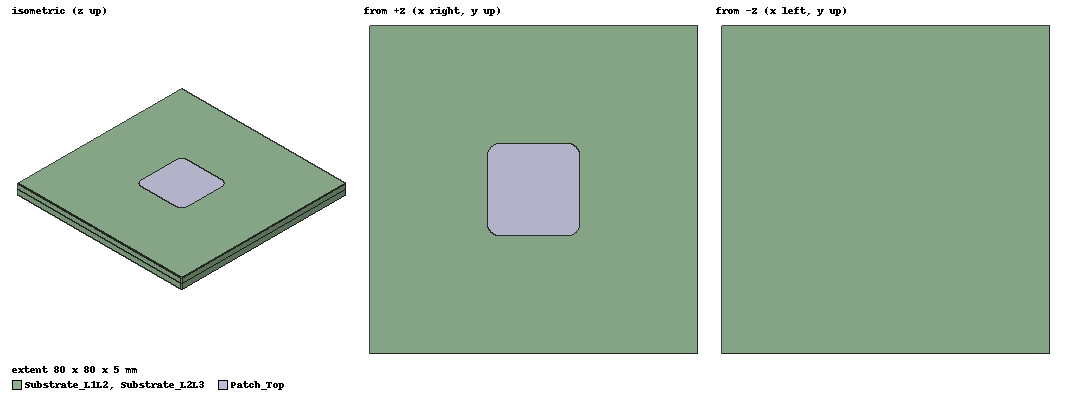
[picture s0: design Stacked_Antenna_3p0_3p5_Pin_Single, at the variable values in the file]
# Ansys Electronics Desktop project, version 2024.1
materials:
  vacuum: permittivity=1
  Isola I-Speed (R): permittivity=3.64 dielectric_loss_tangent=0.006

design Stacked_Antenna_3p0_3p5_Pin_Single (HFSS, HFSS Modal Network, model units mm)
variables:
  substrate = 80mm
  h_L1L2 = 2.5mm
  h_L2L3 = 2.5mm
  patch_top = 22.5mm
  patch_top_cutout = 3mm
  patch_bottom = 22.5mm
  patch_bottom_cutout = 3mm
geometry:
  Substrate_L1L2 [Isola I-Speed (R)] = box(corner=(-substrate/2, -substrate/2, 0mm), size=(substrate, substrate, -h_L1L2))
  Substrate_L2L3 [Isola I-Speed (R)] = box(corner=(-substrate/2, -substrate/2, -h_L1L2), size=(substrate, substrate, -h_L2L3))
  Patch_Top = rectangle(corner=(-patch_top/2, -patch_top/2, 0mm), x_size=patch_top, y_size=patch_top)
  Top_Patch_Cutout = polyline(z=0mm, xy: (-patch_top/2, -patch_top/2) (-patch_top/2, -patch_top/2 + patch_top_cutout) (-patch_top/2 + patch_top_cutout, -patch_top/2) (-patch_top/2, -patch_top/2), closed, covered)
  Top_Patch_Cutout.duplicate_around_axis(axis=Z, angle=90deg, total=4, attached)
  Patch_Top.subtract(Top_Patch_Cutout)
  Circle1 = circle(normal=Z, centre=(-patch_top/2, -patch_top/2, 0mm), radius=patch_top_cutout)
  Circle1.move(patch_top_cutout, patch_top_cutout, 0mm)
  Circle1.duplicate_around_axis(axis=Z, angle=90deg, total=4, attached)
  Patch_Top.unite(Circle1)
  Patch_Bottom = rectangle(corner=(-patch_bottom/2, -patch_bottom/2, -h_L1L2), x_size=patch_bottom, y_size=patch_bottom)
  Polyline1 = polyline(z=-h_L1L2, xy: (-patch_bottom/2, -patch_bottom/2) (-patch_bottom/2, -patch_bottom/2 + patch_bottom_cutout) (-patch_bottom/2 + patch_bottom_cutout, -patch_bottom/2) (-patch_bottom/2, -patch_bottom/2), closed, covered)
  Polyline1.duplicate_around_axis(axis=Z, angle=90deg, total=4, attached)
  Patch_Bottom.subtract(Polyline1)
  Circle2 = circle(normal=Z, centre=(-patch_bottom/2, -patch_bottom/2, -h_L1L2), radius=patch_bottom_cutout)
  Circle2.move(patch_bottom_cutout, patch_bottom_cutout, 0mm)
  Circle2.duplicate_around_axis(axis=Z, angle=90deg, total=4, attached)
  Patch_Bottom.unite(Circle2)
